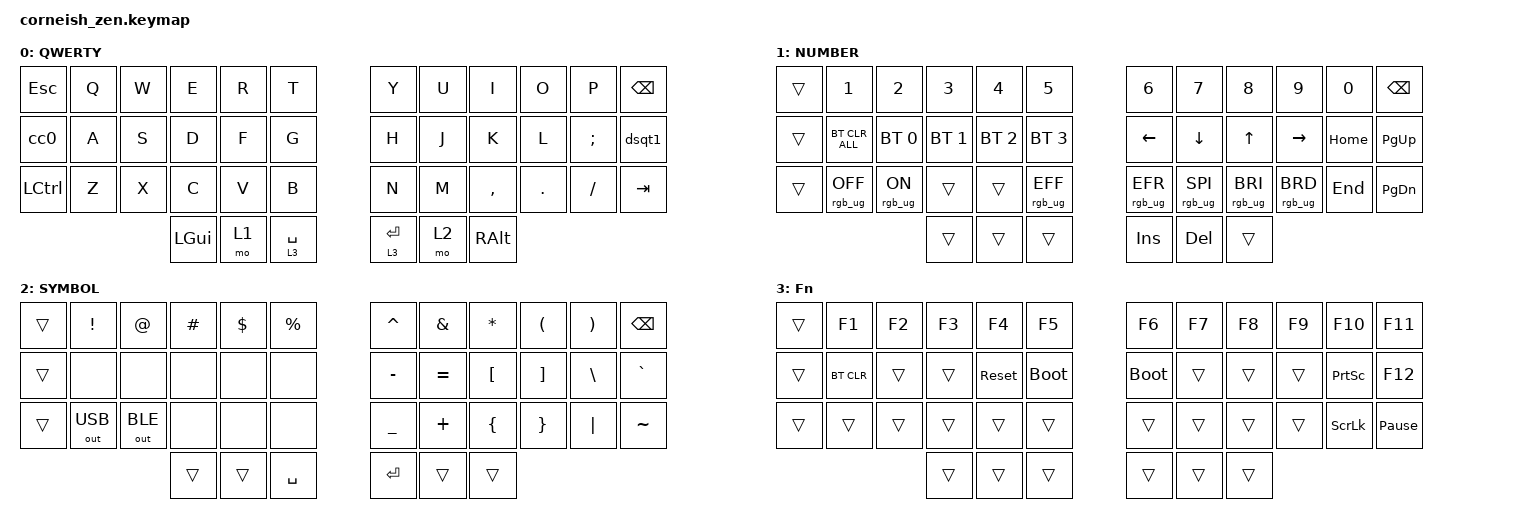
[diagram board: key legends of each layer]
/*
 * Copyright (c) 2020 The ZMK Contributors
 *
 * SPDX-License-Identifier: MIT
 */

#include <behaviors.dtsi>
#include <dt-bindings/zmk/bt.h>
#include <dt-bindings/zmk/keys.h>
#include <dt-bindings/zmk/outputs.h>
#include <dt-bindings/zmk/rgb.h>

/ {
    chosen {
        zmk,matrix_transform = &default_transform;

        // zmk,matrix_transform = &five_column_transform;
    };
};

/ {
    behaviors {
        cc0: cc0 {
            compatible = "zmk,behavior-tap-dance";
            label = "CC0";
            #binding-cells = <0>;
            bindings = <&kp LEFT_SHIFT>, <&kp CAPS>;
        };

        dsqt1: dsqt1 {
            compatible = "zmk,behavior-tap-dance";
            label = "DSQT1";
            #binding-cells = <0>;
            bindings = <&kp SQT>, <&kp DQT>;
        };
    };

    macros {
        copcs01: copcs01 {
            compatible = "zmk,behavior-macro";
            #binding-cells = <0>;
            bindings = <&kp LCTRL &kp LSHIFT &kp C>;
            label = "COPCS01";
        };

        paste01: paste01 {
            compatible = "zmk,behavior-macro";
            #binding-cells = <0>;
            bindings = <&kp LCTRL &kp LSHFT &kp V>;
            label = "PASTE01";
        };
    };

    keymap {
        compatible = "zmk,keymap";

        default_layer {
            display-name = "QWERTY";

            // --------------------------------------------------------------------------------
            // |  TAB |  Q  |  W  |  E  |  R  |  T  |   |  Y  |  U   |  I  |  O  |  P  | BKSP |
            // | CTRL |  A  |  S  |  D  |  F  |  G  |   |  H  |  J   |  K  |  L  |  ;  |  '   |
            // | SHFT |  Z  |  X  |  C  |  V  |  B  |   |  N  |  M   |  ,  |  .  |  /  | ESC  |
            //                    | GUI | LWR | SPC |   | ENT | RSE  | ALT |

            bindings = <
&kp ESC    &kp Q  &kp W  &kp E     &kp R  &kp T          &kp Y        &kp U  &kp I      &kp O    &kp P     &kp BSPC
&cc0       &kp A  &kp S  &kp D     &kp F  &kp G          &kp H        &kp J  &kp K      &kp L    &kp SEMI  &dsqt1
&kp LCTRL  &kp Z  &kp X  &kp C     &kp V  &kp B          &kp N        &kp M  &kp COMMA  &kp DOT  &kp FSLH  &kp TAB
                         &kp LGUI  &mo 1  &lt 3 SPACE    &lt 3 ENTER  &mo 2  &kp RALT
            >;
        };

        lower_layer {
            display-name = "NUMBER";

            // -----------------------------------------------------------------------------------------
            // |  TAB |  1  |  2  |  3  |  4  |  5  |   |  6  |  7  |  8  |  9  |  0  | BKSP |
            // | BTCLR| BT1 | BT2 | BT3 | BT4 | BT5 |   | LFT | DWN |  UP | RGT |     |      |
            // | SHFT |     |     |     |     |     |   |     |     |     |     |     |      |
            //                    | GUI |     | SPC |   | ENT |     | ALT |

            bindings = <
&trans  &kp N1           &kp N2          &kp N3        &kp N4        &kp N5             &kp N6           &kp N7           &kp N8           &kp N9           &kp N0    &kp BSPC
&trans  &bt BT_CLR_ALL   &bt BT_SEL 0    &bt BT_SEL 1  &bt BT_SEL 2  &bt BT_SEL 3       &kp LEFT         &kp DOWN         &kp UP           &kp RIGHT        &kp HOME  &kp PG_UP
&trans  &rgb_ug RGB_OFF  &rgb_ug RGB_ON  &trans        &trans        &rgb_ug RGB_EFF    &rgb_ug RGB_EFR  &rgb_ug RGB_SPI  &rgb_ug RGB_BRI  &rgb_ug RGB_BRD  &kp END   &kp PG_DN
                                         &trans        &trans        &trans             &kp INS          &kp DEL          &trans
            >;
        };

        raise_layer {
            display-name = "SYMBOL";

            // -----------------------------------------------------------------------------------------
            // |  TAB |  !  |  @  |  #  |  $  |  %  |   |  ^  |  &  |  *  |  (  |  )  | BKSP |
            // | CTRL |     |     |     |     |     |   |  -  |  =  |  [  |  ]  |  \  |  `   |
            // | SHFT |     |     |     |     |     |   |  _  |  +  |  {  |  }  | "|" |  ~   |
            //                    | GUI |     | SPC |   | ENT |     | ALT |

            bindings = <
&trans  &kp EXCL      &kp AT        &kp HASH  &kp DLLR  &kp PRCNT    &kp CARET  &kp AMPS   &kp ASTRK  &kp LPAR  &kp RPAR  &kp BSPC
&trans  &none         &none         &none     &none     &none        &kp MINUS  &kp EQUAL  &kp LBKT   &kp RBKT  &kp BSLH  &kp GRAVE
&trans  &out OUT_USB  &out OUT_BLE  &none     &none     &none        &kp UNDER  &kp PLUS   &kp LBRC   &kp RBRC  &kp PIPE  &kp TILDE
                                    &trans    &trans    &kp SPACE    &kp RET    &trans     &trans
            >;
        };

        layer_3 {
            display-name = "Fn";
            bindings = <
&trans  &kp F1      &kp F2  &kp F3  &kp F4      &kp F5         &kp F6       &kp F7  &kp F8  &kp F9  &kp F10          &kp F11
&trans  &bt BT_CLR  &trans  &trans  &sys_reset  &bootloader    &bootloader  &trans  &trans  &trans  &kp PRINTSCREEN  &kp F12
&trans  &trans      &trans  &trans  &trans      &trans         &trans       &trans  &trans  &trans  &kp SCROLLLOCK   &kp PAUSE_BREAK
                            &trans  &trans      &trans         &trans       &trans  &trans
            >;
        };
    };
};
